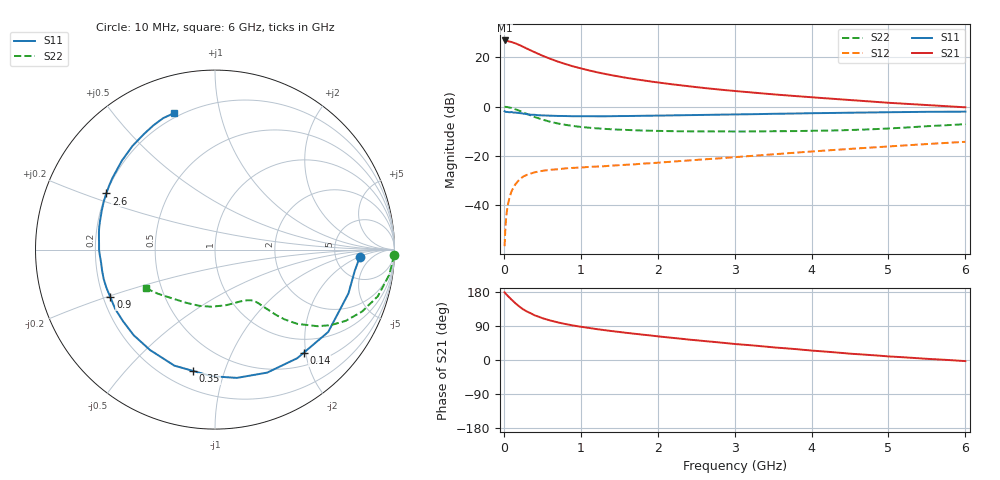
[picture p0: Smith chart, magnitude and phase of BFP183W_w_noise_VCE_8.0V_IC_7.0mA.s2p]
! Infineon Technologies  Discrete & RF Semiconductors
! BFP183W
! VCE =  8.0 V,  IC =  7.0 mA
! Common Emitter S-Parameters:  Jan 2017
# GHz  S  MA  R  50
!  f  S11  S21  S12  S22
! GHz  MAG  ANG  MAG  ANG  MAG  ANG  MAG  ANG
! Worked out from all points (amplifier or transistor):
!   77 points, 10 MHz to 6 GHz, reference 50 ohm
!   highest |S21| = 26.8 dB at 10 MHz (marker M1)
!   |S21| within 3 dB of that: start of sweep to 280.1 MHz
!   unconditionally stable (mu >= 1): 1.942 GHz to 3.999 GHz
!   at 130 MHz: K = 0.11, MSG = 29.2 dB, |S12| = -32.5 dB
!   at 2.2 GHz: K = 1.04, MAG = 14.4 dB, |S12| = -22.2 dB
!   at 6 GHz: K = 0.83, MSG = 7.0 dB, |S12| = -14.2 dB
!   lowest NFmin = 0.82 dB at 450 MHz
!   S11 on the Smith chart (normalised r, x): 10 MHz: 8.92, -2.10; 140 MHz: 0.72, -1.96; 350 MHz: 0.31, -0.79; 900 MHz: 0.23, -0.21; 2.6 GHz: 0.20, +0.23; 6 GHz: 0.18, +0.73
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0.01  0.8081 -2.9  21.92 178.6  0.0015 80.2  0.9964 -1.7
0.02  0.7876 -8.6  21.57 175.6  0.0035 90.6  0.9928 -3.5
0.06  0.776 -21.7  21.07 167.4  0.0117 77.6  0.9718 -9.8
0.1  0.78 -36.0  20.41 159.2  0.0193 72.7  0.9437 -16.0
0.14  0.758 -49.4  19.39 151.8  0.0253 66.0  0.8986 -21.5
0.2  0.7445 -67.0  17.77 141.3  0.0332 59.0  0.8293 -28.6
0.25  0.7251 -80.3  16.36 133.9  0.0383 53.5  0.7694 -33.2
0.3  0.7059 -91.4  14.98 127.9  0.0418 48.6  0.7124 -36.8
0.35  0.687 -100.2  13.78 123.3  0.0443 46.0  0.6649 -39.2
0.4  0.685 -109.3  12.69 117.9  0.0469 43.6  0.6187 -42.0
0.5  0.6664 -122.9  10.8 110.5  0.0503 39.0  0.5489 -45.1
0.6  0.6578 -133.6  9.366 104.4  0.0527 36.3  0.4967 -47.0
0.7  0.6494 -142.2  8.204 99.4  0.0541 34.8  0.4573 -48.2
0.9  0.6403 -155.5  6.559 91.1  0.0577 33.8  0.4066 -50.1
1.1  0.6415 -165.3  5.459 84.8  0.0602 34.4  0.3765 -51.5
1.5  0.6459 -179.9  4.066 74.0  0.0654 36.6  0.3427 -55.4
2.1  0.6629 163.6  2.958 60.4  0.0754 41.3  0.3213 -64.2
2.6  0.6815 152.7  2.394 50.1  0.0857 44.4  0.3156 -74.2
3.1  0.6999 143.2  2.015 40.7  0.0977 46.3  0.3147 -84.7
4.1  0.7408 127.1  1.512 23.4  0.1268 47.2  0.3261 -108.1
5.1  0.7753 115.3  1.175 8.3  0.1602 44.8  0.3689 -133.8
6  0.7944 106.6  0.971 -2.9  0.1946 40.3  0.4425 -151.0
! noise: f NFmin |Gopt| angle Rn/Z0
0.45  0.82  0.16  68  0.11
0.9  0.91  0.21  112  0.1
1.9  1.45  0.39  172  0.07
2.4  1.71  0.45  -173  0.09
